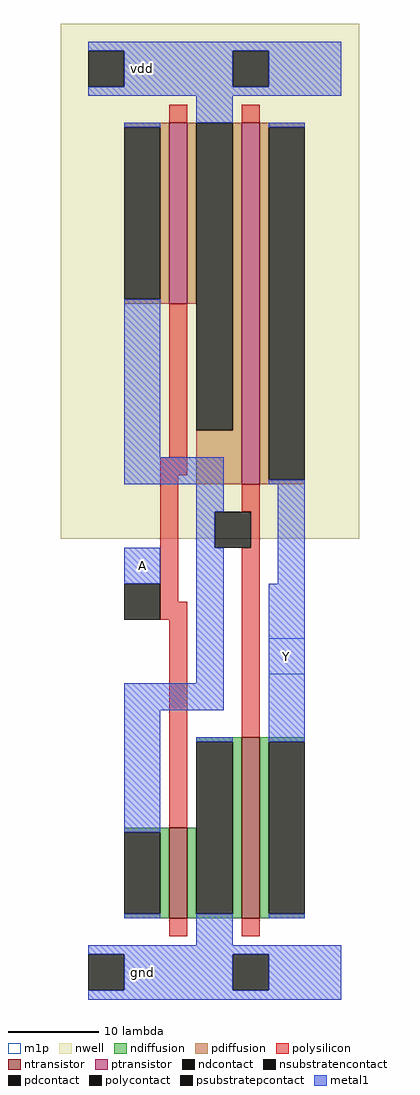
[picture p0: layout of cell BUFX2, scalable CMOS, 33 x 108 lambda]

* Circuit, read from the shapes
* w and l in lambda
.subckt BUFX2 A Y vdd gnd
M1 gnd A n1 gnd nfet w=10 l=2
M2 Y n1 gnd gnd nfet w=20 l=2
M3 vdd A n1 vdd pfet w=20 l=2
M4 Y n1 vdd vdd pfet w=40 l=2
.ends

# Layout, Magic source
magic
tech scmos
magscale 1 2
<< nwell >>
rect -10 96 56 210
<< ntransistor >>
rect 14 12 18 32
rect 30 12 34 52
<< ptransistor >>
rect 14 148 18 188
rect 30 108 34 188
<< ndiffusion >>
rect 20 51 30 52
rect 4 31 14 32
rect 12 13 14 31
rect 4 12 14 13
rect 18 13 20 32
rect 28 13 30 51
rect 18 12 30 13
rect 34 51 44 52
rect 34 13 36 51
rect 34 12 44 13
<< pdiffusion >>
rect 4 187 14 188
rect 12 149 14 187
rect 4 148 14 149
rect 18 148 20 188
rect 28 120 30 188
rect 20 108 30 120
rect 34 187 44 188
rect 34 109 36 187
rect 34 108 44 109
<< ndcontact >>
rect 4 13 12 31
rect 20 13 28 51
rect 36 13 44 51
<< pdcontact >>
rect 4 149 12 187
rect 20 120 28 188
rect 36 109 44 187
<< psubstratepcontact >>
rect -4 -4 4 4
rect 28 -4 36 4
<< nsubstratencontact >>
rect -4 196 4 204
rect 28 196 36 204
<< polysilicon >>
rect 14 188 18 192
rect 30 188 34 192
rect 14 114 18 148
rect 12 110 18 114
rect 12 82 16 110
rect 30 102 34 108
rect 32 94 34 102
rect 12 78 18 82
rect 14 32 18 78
rect 30 52 34 94
rect 14 8 18 12
rect 30 8 34 12
<< polycontact >>
rect 4 78 12 86
rect 24 94 32 102
<< metal1 >>
rect -4 204 52 206
rect 4 196 28 204
rect 36 196 52 204
rect -4 194 52 196
rect 20 188 28 194
rect 4 187 12 188
rect 4 114 12 149
rect 36 187 44 188
rect 4 108 26 114
rect 36 108 44 109
rect 20 102 26 108
rect 20 94 24 102
rect 4 86 12 94
rect 20 64 26 94
rect 38 86 44 108
rect 4 58 26 64
rect 4 31 12 58
rect 4 12 12 13
rect 20 51 28 52
rect 20 6 28 13
rect 36 51 44 86
rect 36 12 44 13
rect -4 4 52 6
rect 4 -4 28 4
rect 36 -4 52 4
rect -4 -6 52 -4
<< m1p >>
rect 4 86 12 94
rect 36 66 44 74
<< labels >>
rlabel metal1 8 200 8 200 4 vdd
port 3 se
rlabel metal1 8 0 8 0 4 gnd
port 4 se
rlabel metal1 8 90 8 90 4 A
port 1 se
rlabel metal1 40 70 40 70 4 Y
port 2 se
<< end >>
